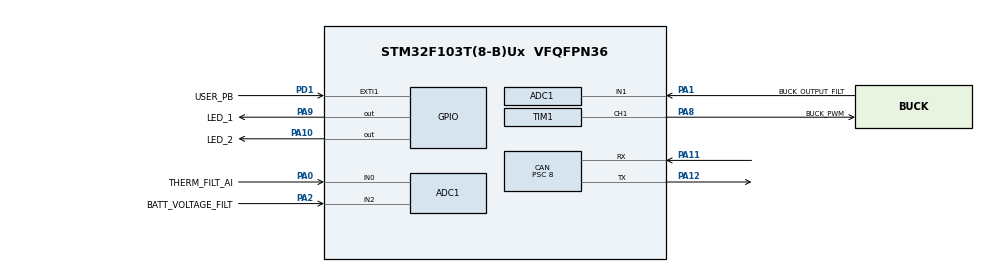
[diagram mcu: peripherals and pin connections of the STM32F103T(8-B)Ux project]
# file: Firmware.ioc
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ADC1.Channel-0\#ChannelRegularConversion=ADC_CHANNEL_0
ADC1.NbrOfConversion=1
ADC1.NbrOfConversionFlag=1
ADC1.Rank-0\#ChannelRegularConversion=1
ADC1.SamplingTime-0\#ChannelRegularConversion=ADC_SAMPLETIME_1CYCLE_5
ADC1.master=1
CAN.BS1=CAN_BS1_2TQ
CAN.CalculateBaudRate=250000
CAN.CalculateTimeBit=4000.00
CAN.CalculateTimeQuantum=1000.0
CAN.Prescaler=8
CAN.SJW=CAN_SJW_1TQ
Mcu.Family=STM32F1
Mcu.Name=STM32F103T(8-B)Ux
Mcu.Package=VFQFPN36
NVIC.PriorityGroup=NVIC_PRIORITYGROUP_4
NVIC.TIM2_IRQn=true\:0\:0\:false\:false\:true\:true\:true
PA0-WKUP.GPIO_Label=THERM_FILT_AI
PA0-WKUP.Signal=ADCx_IN0
PA1.GPIO_Label=BUCK_OUTPUT_FILT
PA1.Signal=ADCx_IN1
PA10.GPIO_Label=LED_2
PA10.Signal=GPIO_Output
PA11.Mode=CAN_Activate
PA11.Signal=CAN_RX
PA12.Mode=CAN_Activate
PA12.Signal=CAN_TX
PA13.Mode=Serial_Wire
PA13.Signal=SYS_JTMS-SWDIO
PA14.Mode=Serial_Wire
PA14.Signal=SYS_JTCK-SWCLK
PA2.GPIO_Label=BATT_VOLTAGE_FILT
PA2.Signal=ADCx_IN2
PA8.GPIO_Label=BUCK_PWM
PA8.Signal=S_TIM1_CH1
PA9.GPIO_Label=LED_1
PA9.Signal=GPIO_Output
PD1-OSC_OUT.GPIO_Label=USER_PB
PD1-OSC_OUT.GPIO_ModeDefaultEXTI=GPIO_MODE_IT_FALLING
PD1-OSC_OUT.GPIO_PuPd=GPIO_NOPULL
PD1-OSC_OUT.Signal=GPXTI1
ProjectManager.HeapSize=0x200
ProjectManager.StackSize=0x400
ProjectManager.TargetToolchain=SW4STM32
RCC.APB1Freq_Value=8000000
RCC.APB1TimFreq_Value=8000000
RCC.APB2Freq_Value=8000000
SH.ADCx_IN0.0=ADC1_IN0,IN0
SH.ADCx_IN1.0=ADC1_IN1,IN1
SH.ADCx_IN2.0=ADC1_IN2,IN2
SH.S_TIM1_CH1.0=TIM1_CH1,PWM Generation1 CH1
TIM1.AutomaticOutput=TIM_AUTOMATICOUTPUT_DISABLE
TIM1.Channel-PWM\ Generation1\ CH1=TIM_CHANNEL_1
TIM1.OCIdleState_1=TIM_OCIDLESTATE_SET
TIM1.Period=49
TIM1.Prescaler=7
TIM1.Pulse-PWM\ Generation1\ CH1=49
TIM2.Channel-Output\ Compare1\ No\ Output=TIM_CHANNEL_1
TIM2.Period=9999
TIM2.Prescaler=799
VP_TIM1_VS_ClockSourceINT.Mode=Internal
VP_TIM2_VS_no_output1.Mode=Output Compare1 No Output
board=custom

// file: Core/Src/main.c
/* USER CODE BEGIN Header */
/**
  ******************************************************************************
  * @file           : main.c
  * @brief          : Main program body
  ******************************************************************************
  * @attention
  *
  * <h2><center>&copy; Copyright (c) 2022 STMicroelectronics.
  * All rights reserved.</center></h2>
  *
  * This software component is licensed by ST under BSD 3-Clause license,
  * the "License"; You may not use this file except in compliance with the
  * License. You may obtain a copy of the License at:
  *                        opensource.org/licenses/BSD-3-Clause
  *
  ******************************************************************************
  */
/* USER CODE END Header */
#include "main.h"

/* USER CODE BEGIN Includes */
#include "stdio.h"
/* USER CODE END Includes */

ADC_HandleTypeDef hadc1;

CAN_HandleTypeDef hcan;

TIM_HandleTypeDef htim1;
TIM_HandleTypeDef htim2;

void SystemClock_Config(void);
static void MX_GPIO_Init(void);
static void MX_ADC1_Init(void);
static void MX_CAN_Init(void);
static void MX_TIM1_Init(void);
static void MX_TIM2_Init(void);

/* USER CODE BEGIN 0 */
int duty = 0;
int direction = 1;
uint16_t raw_adc;
/* USER CODE END 0 */

int main(void)
{

  /* MCU Configuration--------------------------------------------------------*/

  /* Reset of all peripherals, Initializes the Flash interface and the Systick. */
  HAL_Init();

  /* Configure the system clock */
  SystemClock_Config();

  /* Initialize all configured peripherals */
  MX_GPIO_Init();
  MX_ADC1_Init();
  MX_CAN_Init();
  MX_TIM1_Init();
  MX_TIM2_Init();
  /* USER CODE BEGIN 2 */
  HAL_TIM_PWM_Start(&htim1, TIM_CHANNEL_1);
  HAL_TIM_Base_Start_IT(&htim2);

  /* USER CODE END 2 */

  /* Infinite loop */
  /* USER CODE BEGIN WHILE */

  while (1)
  {
	//TIM1->CCR1 = 9999;
	sendCANMessage();

    HAL_ADC_Start(&hadc1);
    HAL_ADC_PollForConversion(&hadc1, HAL_MAX_DELAY);
    raw_adc = HAL_ADC_GetValue(&hadc1);

	HAL_GPIO_WritePin(GPIOA, LED_1_Pin, GPIO_PIN_RESET);
	HAL_Delay(300);
	HAL_GPIO_WritePin(GPIOA, LED_1_Pin, GPIO_PIN_SET);
	HAL_Delay(300);

    /* USER CODE END WHILE */

  }
}

void SystemClock_Config(void)
{
  RCC_OscInitTypeDef RCC_OscInitStruct = {0};
  RCC_ClkInitTypeDef RCC_ClkInitStruct = {0};
  RCC_PeriphCLKInitTypeDef PeriphClkInit = {0};

  /** Initializes the RCC Oscillators according to the specified parameters
  * in the RCC_OscInitTypeDef structure.
  */
  RCC_OscInitStruct.OscillatorType = RCC_OSCILLATORTYPE_HSI;
  RCC_OscInitStruct.HSIState = RCC_HSI_ON;
  RCC_OscInitStruct.HSICalibrationValue = RCC_HSICALIBRATION_DEFAULT;
  RCC_OscInitStruct.PLL.PLLState = RCC_PLL_NONE;
  if (HAL_RCC_OscConfig(&RCC_OscInitStruct) != HAL_OK)
  {
    Error_Handler();
  }
  /** Initializes the CPU, AHB and APB buses clocks
  */
  RCC_ClkInitStruct.ClockType = RCC_CLOCKTYPE_HCLK|RCC_CLOCKTYPE_SYSCLK
                              |RCC_CLOCKTYPE_PCLK1|RCC_CLOCKTYPE_PCLK2;
  RCC_ClkInitStruct.SYSCLKSource = RCC_SYSCLKSOURCE_HSI;
  RCC_ClkInitStruct.AHBCLKDivider = RCC_SYSCLK_DIV1;
  RCC_ClkInitStruct.APB1CLKDivider = RCC_HCLK_DIV1;
  RCC_ClkInitStruct.APB2CLKDivider = RCC_HCLK_DIV1;

  if (HAL_RCC_ClockConfig(&RCC_ClkInitStruct, FLASH_LATENCY_0) != HAL_OK)
  {
    Error_Handler();
  }
  PeriphClkInit.PeriphClockSelection = RCC_PERIPHCLK_ADC;
  PeriphClkInit.AdcClockSelection = RCC_ADCPCLK2_DIV2;
  if (HAL_RCCEx_PeriphCLKConfig(&PeriphClkInit) != HAL_OK)
  {
    Error_Handler();
  }
}

static void MX_ADC1_Init(void)
{

  ADC_ChannelConfTypeDef sConfig = {0};

  /** Common config
  */
  hadc1.Instance = ADC1;
  hadc1.Init.ScanConvMode = ADC_SCAN_DISABLE;
  hadc1.Init.ContinuousConvMode = DISABLE;
  hadc1.Init.DiscontinuousConvMode = DISABLE;
  hadc1.Init.ExternalTrigConv = ADC_SOFTWARE_START;
  hadc1.Init.DataAlign = ADC_DATAALIGN_RIGHT;
  hadc1.Init.NbrOfConversion = 1;
  if (HAL_ADC_Init(&hadc1) != HAL_OK)
  {
    Error_Handler();
  }
  /** Configure Regular Channel
  */
  sConfig.Channel = ADC_CHANNEL_0;
  sConfig.Rank = ADC_REGULAR_RANK_1;
  sConfig.SamplingTime = ADC_SAMPLETIME_1CYCLE_5;
  if (HAL_ADC_ConfigChannel(&hadc1, &sConfig) != HAL_OK)
  {
    Error_Handler();
  }

}

static void MX_CAN_Init(void)
{

  hcan.Instance = CAN1;
  hcan.Init.Prescaler = 8;
  hcan.Init.Mode = CAN_MODE_NORMAL;
  hcan.Init.SyncJumpWidth = CAN_SJW_1TQ;
  hcan.Init.TimeSeg1 = CAN_BS1_2TQ;
  hcan.Init.TimeSeg2 = CAN_BS2_1TQ;
  hcan.Init.TimeTriggeredMode = DISABLE;
  hcan.Init.AutoBusOff = DISABLE;
  hcan.Init.AutoWakeUp = DISABLE;
  hcan.Init.AutoRetransmission = DISABLE;
  hcan.Init.ReceiveFifoLocked = DISABLE;
  hcan.Init.TransmitFifoPriority = DISABLE;
  if (HAL_CAN_Init(&hcan) != HAL_OK)
  {
    Error_Handler();
  }
  /* USER CODE BEGIN CAN_Init 2 */
  CAN_FilterTypeDef sf;
  sf.FilterMaskIdHigh = 0x0000;
  sf.FilterMaskIdLow = 0x0000;
  sf.FilterFIFOAssignment = CAN_FILTER_FIFO0;
  sf.FilterBank = 0;
  sf.FilterMode = CAN_FILTERMODE_IDMASK;
  sf.FilterScale = CAN_FILTERSCALE_32BIT;
  sf.FilterActivation = CAN_FILTER_ENABLE;
  if (HAL_CAN_ConfigFilter(&hcan, &sf) != HAL_OK)
  {
    Error_Handler();
  }

  if (HAL_CAN_Start(&hcan) != HAL_OK)
  {
    Error_Handler();
  }

  /* USER CODE END CAN_Init 2 */

}

static void MX_TIM1_Init(void)
{

  TIM_ClockConfigTypeDef sClockSourceConfig = {0};
  TIM_MasterConfigTypeDef sMasterConfig = {0};
  TIM_OC_InitTypeDef sConfigOC = {0};
  TIM_BreakDeadTimeConfigTypeDef sBreakDeadTimeConfig = {0};

  htim1.Instance = TIM1;
  htim1.Init.Prescaler = 7;
  htim1.Init.CounterMode = TIM_COUNTERMODE_UP;
  htim1.Init.Period = 49;
  htim1.Init.ClockDivision = TIM_CLOCKDIVISION_DIV1;
  htim1.Init.RepetitionCounter = 0;
  htim1.Init.AutoReloadPreload = TIM_AUTORELOAD_PRELOAD_DISABLE;
  if (HAL_TIM_Base_Init(&htim1) != HAL_OK)
  {
    Error_Handler();
  }
  sClockSourceConfig.ClockSource = TIM_CLOCKSOURCE_INTERNAL;
  if (HAL_TIM_ConfigClockSource(&htim1, &sClockSourceConfig) != HAL_OK)
  {
    Error_Handler();
  }
  if (HAL_TIM_PWM_Init(&htim1) != HAL_OK)
  {
    Error_Handler();
  }
  sMasterConfig.MasterOutputTrigger = TIM_TRGO_RESET;
  sMasterConfig.MasterSlaveMode = TIM_MASTERSLAVEMODE_DISABLE;
  if (HAL_TIMEx_MasterConfigSynchronization(&htim1, &sMasterConfig) != HAL_OK)
  {
    Error_Handler();
  }
  sConfigOC.OCMode = TIM_OCMODE_PWM1;
  sConfigOC.Pulse = 49;
  sConfigOC.OCPolarity = TIM_OCPOLARITY_HIGH;
  sConfigOC.OCNPolarity = TIM_OCNPOLARITY_HIGH;
  sConfigOC.OCFastMode = TIM_OCFAST_DISABLE;
  sConfigOC.OCIdleState = TIM_OCIDLESTATE_SET;
  sConfigOC.OCNIdleState = TIM_OCNIDLESTATE_RESET;
  if (HAL_TIM_PWM_ConfigChannel(&htim1, &sConfigOC, TIM_CHANNEL_1) != HAL_OK)
  {
    Error_Handler();
  }
  sBreakDeadTimeConfig.OffStateRunMode = TIM_OSSR_DISABLE;
  sBreakDeadTimeConfig.OffStateIDLEMode = TIM_OSSI_DISABLE;
  sBreakDeadTimeConfig.LockLevel = TIM_LOCKLEVEL_OFF;
  sBreakDeadTimeConfig.DeadTime = 0;
  sBreakDeadTimeConfig.BreakState = TIM_BREAK_DISABLE;
  sBreakDeadTimeConfig.BreakPolarity = TIM_BREAKPOLARITY_HIGH;
  sBreakDeadTimeConfig.AutomaticOutput = TIM_AUTOMATICOUTPUT_DISABLE;
  if (HAL_TIMEx_ConfigBreakDeadTime(&htim1, &sBreakDeadTimeConfig) != HAL_OK)
  {
    Error_Handler();
  }
  HAL_TIM_MspPostInit(&htim1);

}

static void MX_TIM2_Init(void)
{

  TIM_MasterConfigTypeDef sMasterConfig = {0};
  TIM_OC_InitTypeDef sConfigOC = {0};

  htim2.Instance = TIM2;
  htim2.Init.Prescaler = 799;
  htim2.Init.CounterMode = TIM_COUNTERMODE_UP;
  htim2.Init.Period = 9999;
  htim2.Init.ClockDivision = TIM_CLOCKDIVISION_DIV1;
  htim2.Init.AutoReloadPreload = TIM_AUTORELOAD_PRELOAD_DISABLE;
  if (HAL_TIM_OC_Init(&htim2) != HAL_OK)
  {
    Error_Handler();
  }
  sMasterConfig.MasterOutputTrigger = TIM_TRGO_RESET;
  sMasterConfig.MasterSlaveMode = TIM_MASTERSLAVEMODE_DISABLE;
  if (HAL_TIMEx_MasterConfigSynchronization(&htim2, &sMasterConfig) != HAL_OK)
  {
    Error_Handler();
  }
  sConfigOC.OCMode = TIM_OCMODE_TIMING;
  sConfigOC.Pulse = 0;
  sConfigOC.OCPolarity = TIM_OCPOLARITY_HIGH;
  sConfigOC.OCFastMode = TIM_OCFAST_DISABLE;
  if (HAL_TIM_OC_ConfigChannel(&htim2, &sConfigOC, TIM_CHANNEL_1) != HAL_OK)
  {
    Error_Handler();
  }

}

static void MX_GPIO_Init(void)
{
  GPIO_InitTypeDef GPIO_InitStruct = {0};

  /* GPIO Ports Clock Enable */
  __HAL_RCC_GPIOD_CLK_ENABLE();
  __HAL_RCC_GPIOA_CLK_ENABLE();

  /*Configure GPIO pin Output Level */
  HAL_GPIO_WritePin(GPIOA, LED_1_Pin|LED_2_Pin, GPIO_PIN_RESET);

  /*Configure GPIO pin : USER_PB_Pin */
  GPIO_InitStruct.Pin = USER_PB_Pin;
  GPIO_InitStruct.Mode = GPIO_MODE_IT_FALLING;
  GPIO_InitStruct.Pull = GPIO_NOPULL;
  HAL_GPIO_Init(USER_PB_GPIO_Port, &GPIO_InitStruct);

  /*Configure GPIO pins : LED_1_Pin LED_2_Pin */
  GPIO_InitStruct.Pin = LED_1_Pin|LED_2_Pin;
  GPIO_InitStruct.Mode = GPIO_MODE_OUTPUT_PP;
  GPIO_InitStruct.Pull = GPIO_NOPULL;
  GPIO_InitStruct.Speed = GPIO_SPEED_FREQ_LOW;
  HAL_GPIO_Init(GPIOA, &GPIO_InitStruct);

  /*Configure peripheral I/O remapping */
  __HAL_AFIO_REMAP_PD01_ENABLE();

}

/* USER CODE BEGIN 4 */

// Callback: timer has rolled over
void HAL_TIM_PeriodElapsedCallback(TIM_HandleTypeDef *htim)
{
  // Check which version of the timer triggered this callback and toggle LED
  if (htim == &htim2)
  {
    HAL_GPIO_TogglePin(GPIOA, LED_2_Pin);
  }
}

void sendCANMessage()
{
	uint32_t mb;
	CAN_TxHeaderTypeDef msg;
	uint8_t data[] = "Hello!";

	msg.StdId = 127;
	msg.IDE = CAN_ID_STD;
	msg.RTR = CAN_RTR_DATA;
	msg.DLC = 6;
	msg.TransmitGlobalTime = DISABLE;

	if (HAL_CAN_AddTxMessage(&hcan, &msg, data, &mb) != HAL_OK)
	{
		Error_Handler();
	}
}

void sweepBuckDuty()
{
	if(direction == 1)
		{
			if(duty <= 15988)
			{
				duty+=2000;
				TIM1->CCR1 = duty;
			}
			if(duty >= 100)
			{
				direction = 0;
			}
		}

		if(direction == 0)
		{
			if(duty >= 0)
			{
				duty-=2000;
				TIM1->CCR1 = duty;
			}
			if(duty <= 0)
			{
				direction = 1;
			}
		}
}
/* USER CODE END 4 */

void Error_Handler(void)
{
  __disable_irq();
  while (1)
  {
  }
}

/************************ (C) COPYRIGHT STMicroelectronics *****END OF FILE****/
